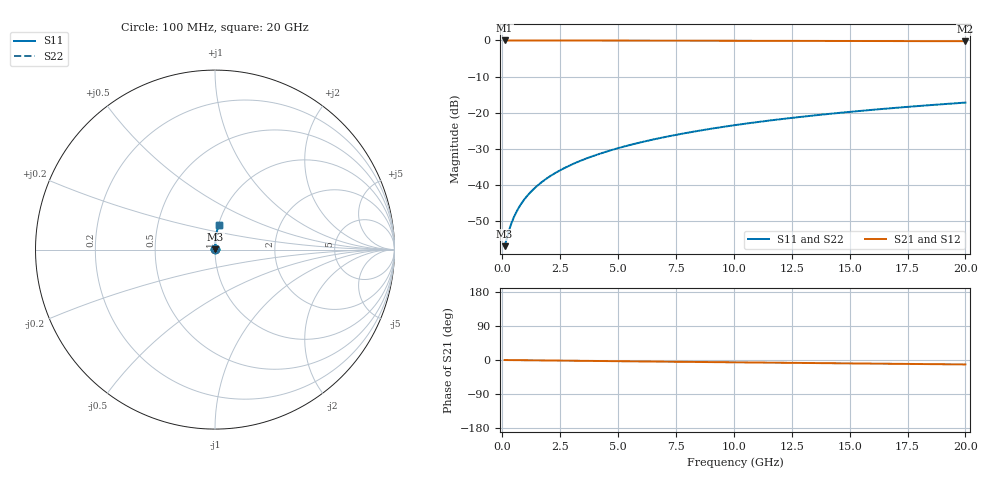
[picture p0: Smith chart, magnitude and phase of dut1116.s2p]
! Touchstone file exported from HFSS 2024.1.0
!  File:  C:/UserFiles/LocalFiles/RDL_TSV_Batchsim/temp_RDL_top_1116_1780046900.aedt
!  Generated:  05:30:52 PM May 29, 2026
!  Design:  RDL_top
!  Project:  temp_RDL_top_1116_1780046900
!  Setup:  Setup1
!  Solution:  Sweep
! Variables:
!  dtsv = 10.80580581um
!  hbump = 3um
!  htsv = 75.15um
!  ldown = 100um
!  lrdl = 134.79um
!  p = 40
!  p1 = 41.76um
!  rhole = 1um
!  t = 450um
!  tdown = 3.915915916um
!  trdl = 2.7um
!  wdown = 15.38538539um
!  wrdl = 18.28um
# GHz S MA R 50.000000
! Terminal data exported
! Port[1] = Box2_T1
! Port[2] = Box2_T2
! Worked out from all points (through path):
!   200 points, 100 MHz to 20 GHz, reference 50 ohm
!   highest |S21| = -0.01 dB at 100 MHz (marker M1); lowest = -0.2 dB at 20 GHz (marker M2)
!   group delay of S21, straight-line fit = 1.62 ps
!   lowest |S11| = -56.9 dB at 100 MHz (marker M3), VSWR 1.00, Z = 50.1 + j0.0687 ohm
!   |S11| at or under -10 dB: start of sweep to end of sweep
!   |S22| runs from -56.9 to -17.2 dB; largest |S21 - S12| = 5.1e-15
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0.1  0.001427 28.7  0.9987 -0.1  0.9987 -0.1  0.001427 28.7
! Gamma 0 0 0 0
! Port Impedance 50 0 50 0
0.3  0.002412 57.1  0.9987 -0.2  0.9987 -0.2  0.002412 57.1
0.4  0.002994 63.3  0.9986 -0.3  0.9986 -0.3  0.002994 63.3
0.5  0.003589 67.4  0.9986 -0.3  0.9986 -0.3  0.003589 67.4
0.6  0.00419 70.4  0.9985 -0.4  0.9985 -0.4  0.00419 70.4
0.8  0.005399 74.5  0.9984 -0.5  0.9984 -0.5  0.005399 74.5
1  0.006618 77.2  0.9984 -0.7  0.9984 -0.7  0.006618 77.2
1.2  0.007846 79.1  0.9983 -0.8  0.9983 -0.8  0.007846 79.1
1.4  0.009084 80.6  0.9982 -0.9  0.9982 -0.9  0.009084 80.6
1.7  0.01095 82.2  0.9981 -1.1  0.9981 -1.1  0.01095 82.2
2.2  0.0141 84.0  0.9978 -1.4  0.9978 -1.4  0.0141 84.0
2.8  0.01793 85.3  0.9974 -1.8  0.9974 -1.8  0.01793 85.3
3.5  0.02245 86.3  0.9968 -2.2  0.9968 -2.2  0.02245 86.3
4.2  0.02703 86.9  0.9962 -2.7  0.9962 -2.7  0.02703 86.9
5  0.03235 87.4  0.9954 -3.2  0.9954 -3.2  0.03234 87.4
5.9  0.03842 87.6  0.9943 -3.7  0.9943 -3.7  0.03842 87.6
6.8  0.04458 87.6  0.9932 -4.3  0.9932 -4.3  0.04458 87.6
8.4  0.05571 87.4  0.9912 -5.2  0.9912 -5.2  0.05571 87.4
10.1  0.06772 86.8  0.9889 -6.2  0.9889 -6.2  0.06772 86.8
13.4  0.09128 85.1  0.9844 -8.1  0.9844 -8.1  0.09128 85.1
16.7  0.1148 83.2  0.9799 -9.9  0.9799 -9.9  0.1148 83.2
20  0.1381 81.2  0.9752 -11.7  0.9752 -11.7  0.1381 81.2
